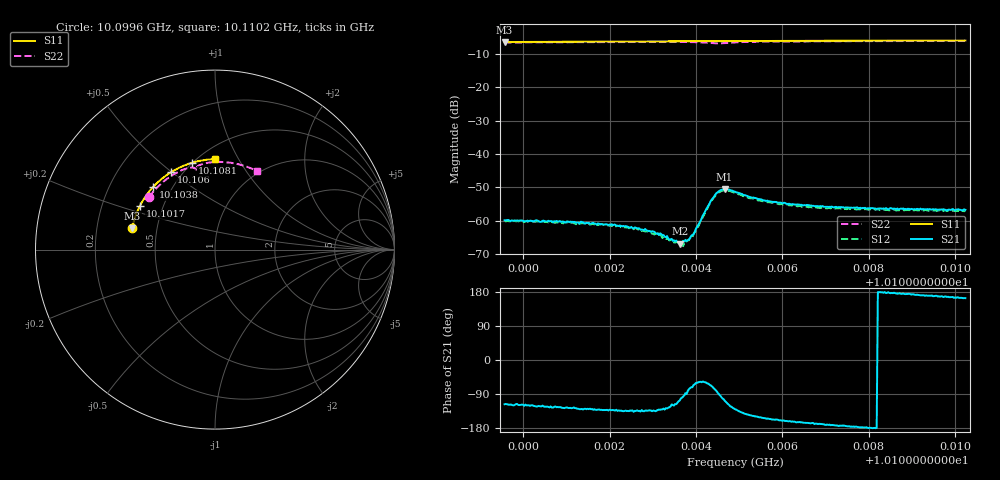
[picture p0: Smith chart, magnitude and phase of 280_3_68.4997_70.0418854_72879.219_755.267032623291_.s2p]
#  HZ  S  RI  R  50.00
! Rohde & Schwarz Vector Network Analyzer
! Rohde-Schwarz,ZNB20-2Port,1311601062101988,3.16
! Created: UTC 3/20/2024, 5:01:08 PM
! freq[Hz]  re:S11  im:S11  re:S21  im:S21  re:S12  im:S12  re:S22  im:S22
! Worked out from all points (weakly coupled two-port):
!   401 points, 10.0996 GHz to 10.1102 GHz, reference 50 ohm
!   highest |S21| = -50.60 dB at 10.1047 GHz (marker M1); lowest = -66.9 dB at 10.1036 GHz (marker M2)
!   lowest |S11| = -6.4 dB at 10.0996 GHz (marker M3), VSWR 2.82, Z = 18 + j5.57 ohm
!   |S11| at or under -10 dB: nowhere
!   |S22| runs from -6.8 to -6.1 dB; largest |S21 - S12| = 0.0003
!   S11 on the Smith chart (normalised r, x): 10.0996 GHz: 0.36, +0.11; 10.1017 GHz: 0.37, +0.23; 10.1038 GHz: 0.39, +0.36; 10.106 GHz: 0.43, +0.50; 10.1081 GHz: 0.50, +0.64; 10.1102 GHz: 0.59, +0.80
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1.009956e10  -0.4616 0.1197  -0.000458 -0.000904  -0.000372 -0.000951  -0.3671 0.293
1.010135e10  -0.4281 0.2235  -0.000601 -0.00074  -0.000525 -0.000743  -0.2884 0.3776
1.01017e10  -0.4189 0.2423  -0.000577 -0.000649  -0.00053 -0.000707  -0.271 0.3918
1.010263e10  -0.3902 0.2913  -0.000519 -0.000559  -0.000487 -0.000572  -0.2197 0.4254
1.010314e10  -0.3722 0.3162  -0.000401 -0.00046  -0.000377 -0.000483  -0.1894 0.4406
1.010344e10  -0.361 0.3302  -0.000244 -0.000473  -0.00022 -0.000441  -0.1705 0.4481
1.010362e10  -0.3539 0.3389  -0.000131 -0.00043  -7.82e-05 -0.000442  -0.1578 0.4523
1.010373e10  -0.3495 0.3437  -2.84e-05 -0.000486  -1.74e-05 -0.000462  -0.1505 0.4542
1.010384e10  -0.345 0.3486  0.000119 -0.00051  0.00014 -0.00049  -0.1427 0.4559
1.010389e10  -0.3429 0.3509  0.000185 -0.000565  0.00022 -0.000526  -0.1387 0.4564
1.010397e10  -0.3395 0.3546  0.000295 -0.000608  0.00034 -0.000576  -0.1325 0.4569
1.010421e10  -0.3292 0.3649  0.000706 -0.00117  0.000779 -0.00107  -0.1146 0.4545
1.01044e10  -0.3211 0.3727  0.000654 -0.0021  0.000814 -0.00199  -0.1057 0.4471
1.010453e10  -0.3152 0.3781  2.82e-06 -0.00277  0.000283 -0.00265  -0.1061 0.4436
1.010466e10  -0.3093 0.3835  -0.000868 -0.00282  -0.000626 -0.0028  -0.1082 0.4469
1.01049e10  -0.2983 0.3929  -0.00174 -0.0021  -0.00149 -0.00215  -0.1013 0.4603
1.010541e10  -0.274 0.4118  -0.00186 -0.00109  -0.00167 -0.00119  -0.0685 0.4774
1.010597e10  -0.2458 0.4309  -0.00174 -0.000661  -0.0016 -0.000769  -0.0307 0.4852
1.010669e10  -0.2078 0.4523  -0.00162 -0.000401  -0.00149 -0.000493  0.0168 0.4886
1.010811e10  -0.1282 0.4839  -0.00154 -7.78e-06  -0.00144 -0.000172  0.1077 0.4806
1.010848e10  -0.1065 0.4899  -0.00151 7.56e-05  -0.00142 -4.94e-05  0.1311 0.4756
1.011025e10  -0.000887 0.5039  -0.00139 0.000421  -0.00138 0.000261  0.2361 0.4366
